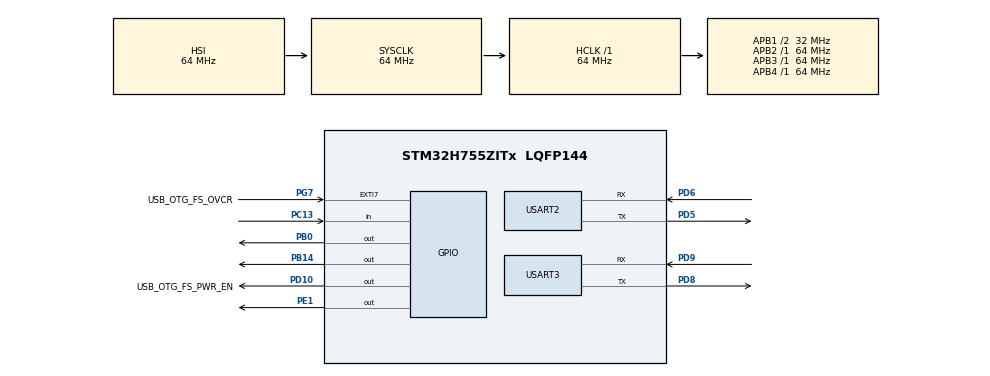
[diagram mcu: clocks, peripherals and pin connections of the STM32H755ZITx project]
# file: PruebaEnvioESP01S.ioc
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CortexM4.IPs=FATFS_M4\:I,FREERTOS_M4\:I,IWDG2\:I,RCC,WWDG2\:I,DMA,BDMA,MDMA,NVIC2\:I,ETH,USART3,DEBUG,PDM2PCM_M4\:I,PWR,RESMGR_UTILITY,SYS_M4\:I,USB_DEVICE_M4\:I,USB_HOST_M4\:I,CORTEX_M4\:I,GPIO,OPENAMP_M4\:I,VREFBUF,NUCLEO-H755ZI-Q
CortexM7.IPs=FATFS_M7\:I,FREERTOS_M7\:I,IWDG1\:I,RCC\:I,WWDG1\:I,DMA\:I,BDMA\:I,MDMA\:I,NVIC1\:I,ETH\:I,USART3\:I,USB_OTG_FS\:I,SYS\:I,CORTEX_M7\:I,DEBUG\:I,PDM2PCM_M7\:I,PWR\:I,RESMGR_UTILITY\:I,USB_DEVICE_M7\:I,USB_HOST_M7\:I,GPIO\:I,OPENAMP_M7\:I,VREFBUF\:I,NUCLEO-H755ZI-Q\:I,MEMORYMAP\:I,USART2\:I
Mcu.Family=STM32H7
Mcu.Name=STM32H755ZITx
Mcu.Package=LQFP144
NVIC1.PriorityGroup=NVIC_PRIORITYGROUP_4
NVIC2.PriorityGroup=NVIC_PRIORITYGROUP_4
PA1.PinAttribute=CortexM7
PA1.Signal=ETH_REF_CLK
PA11.PinAttribute=CortexM7
PA11.Signal=USB_OTG_FS_DM
PA12.PinAttribute=CortexM7
PA12.Signal=USB_OTG_FS_DP
PA2.PinAttribute=CortexM7
PA2.Signal=ETH_MDIO
PA7.PinAttribute=CortexM7
PA7.Signal=ETH_CRS_DV
PA8.PinAttribute=CortexM7
PA8.Signal=USB_OTG_FS_SOF
PA9.PinAttribute=CortexM7
PA9.Signal=USB_OTG_FS_VBUS
PB0.PinAttribute=Free
PB0.Signal=GPIO_Output
PB13.PinAttribute=CortexM7
PB13.Signal=ETH_TXD1
PB14.PinAttribute=Free
PB14.Signal=GPIO_Output
PC1.PinAttribute=CortexM7
PC1.Signal=ETH_MDC
PC13.PinAttribute=Free
PC13.Signal=GPIO_Input
PC14-OSC32_IN\ (OSC32_IN).PinAttribute=Free
PC14-OSC32_IN\ (OSC32_IN).Signal=RCC_OSC32_IN
PC15-OSC32_OUT\ (OSC32_OUT).PinAttribute=Free
PC15-OSC32_OUT\ (OSC32_OUT).Signal=RCC_OSC32_OUT
PC4.PinAttribute=CortexM7
PC4.Signal=ETH_RXD0
PC5.PinAttribute=CortexM7
PC5.Signal=ETH_RXD1
PD10.GPIO_Label=USB_OTG_FS_PWR_EN
PD10.PinAttribute=Free
PD10.Signal=GPIO_Output
PD5.Mode=Asynchronous
PD5.PinAttribute=CortexM7
PD5.Signal=USART2_TX
PD6.Mode=Asynchronous
PD6.PinAttribute=CortexM7
PD6.Signal=USART2_RX
PD8.Mode=Asynchronous
PD8.PinAttribute=CortexM7
PD8.Signal=USART3_TX
PD9.Mode=Asynchronous
PD9.PinAttribute=CortexM7
PD9.Signal=USART3_RX
PE1.PinAttribute=Free
PE1.Signal=GPIO_Output
PG11.PinAttribute=CortexM7
PG11.Signal=ETH_TX_EN
PG13.PinAttribute=CortexM7
PG13.Signal=ETH_TXD0
PG7.GPIO_Label=USB_OTG_FS_OVCR
PG7.PinAttribute=Free
PG7.Signal=GPXTI7
PH0-OSC_IN\ (PH0).PinAttribute=Free
PH0-OSC_IN\ (PH0).Signal=RCC_OSC_IN
PH1-OSC_OUT\ (PH1).PinAttribute=Free
PH1-OSC_OUT\ (PH1).Signal=RCC_OSC_OUT
ProjectManager.HeapSize=M4-0x200,M7-0x200
ProjectManager.StackSize=M4-0x400,M7-0x400
ProjectManager.TargetToolchain=STM32CubeIDE
RCC.ADCFreq_Value=129000000
RCC.APB1Freq_Value=32000000
RCC.APB2Freq_Value=64000000
RCC.APB3Freq_Value=64000000
RCC.APB4Freq_Value=64000000
RCC.CortexFreq_Value=64000000
RCC.D2PPRE1=RCC_APB1_DIV2
RCC.DIVM1=5
RCC.DIVN1=48
RCC.DIVQ1=5
RCC.HCLKFreq_Value=64000000
RCC.PLL2FRACN=0
RCC.PLL3FRACN=0
RCC.PLLFRACN=0
RCC.SYSCLKFreq_VALUE=64000000
RCC.SupplySource=PWR_DIRECT_SMPS_SUPPLY
RCC.USBFreq_Value=122880000
USART2.VirtualMode-Asynchronous=VM_ASYNC
USART3.VirtualMode-Asynchronous=VM_ASYNC
VP_MEMORYMAP_VS_MEMORYMAP.Mode=CurAppReg
VP_SYS_M4_VS_Systick.Mode=SysTick
board=NUCLEO-H755ZI-Q

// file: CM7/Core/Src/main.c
/* USER CODE BEGIN Header */
/**
  ******************************************************************************
  * @file           : main.c
  * @brief          : Main program body
  ******************************************************************************
  * @attention
  *
  * Copyright (c) 2025 STMicroelectronics.
  * All rights reserved.
  *
  * This software is licensed under terms that can be found in the LICENSE file
  * in the root directory of this software component.
  * If no LICENSE file comes with this software, it is provided AS-IS.
  *
  ******************************************************************************
  */
/* USER CODE END Header */
#include "main.h"

/* USER CODE BEGIN Includes */
#include "main.h"
#include <stdio.h>
#include <string.h>
/* USER CODE END Includes */

/* USER CODE BEGIN PTD */
#define TX_BUFFER_SIZE 350
char tx_buffer[TX_BUFFER_SIZE];
/* USER CODE END PTD */

/* USER CODE BEGIN PD */

/* DUAL_CORE_BOOT_SYNC_SEQUENCE: Define for dual core boot synchronization    */
/*                             demonstration code based on hardware semaphore */
/* This define is present in both CM7/CM4 projects                            */
/* To comment when developping/debugging on a single core                     */
//#define DUAL_CORE_BOOT_SYNC_SEQUENCE

#if defined(DUAL_CORE_BOOT_SYNC_SEQUENCE)
#ifndef HSEM_ID_0
#define HSEM_ID_0 (0U) /* HW semaphore 0*/
#endif
#endif /* DUAL_CORE_BOOT_SYNC_SEQUENCE */

/* USER CODE END PD */

UART_HandleTypeDef huart2;
UART_HandleTypeDef huart3;

/* USER CODE BEGIN PV */
int contador_envio = 0;
float sim_temp = 24.0;
float sim_hum = 55.0;
float sim_ax = 0.0;

/* USER CODE END PV */

void SystemClock_Config(void);
static void MX_GPIO_Init(void);
static void MX_USART2_UART_Init(void);
static void MX_USART3_UART_Init(void);
/* USER CODE BEGIN PFP */
void generar_datos_json_combinado(void);
void loop_nucleo_transmisor(void);
/* USER CODE END PFP */

int main(void)
{

  /* USER CODE BEGIN 1 */
//	int index = 0;
  /* USER CODE END 1 */
/* USER CODE BEGIN Boot_Mode_Sequence_0 */
#if defined(DUAL_CORE_BOOT_SYNC_SEQUENCE)
  int32_t timeout;
#endif /* DUAL_CORE_BOOT_SYNC_SEQUENCE */
/* USER CODE END Boot_Mode_Sequence_0 */

/* USER CODE BEGIN Boot_Mode_Sequence_1 */
#if defined(DUAL_CORE_BOOT_SYNC_SEQUENCE)
  /* Wait until CPU2 boots and enters in stop mode or timeout*/
  timeout = 0xFFFF;
  while((__HAL_RCC_GET_FLAG(RCC_FLAG_D2CKRDY) != RESET) && (timeout-- > 0));
  if ( timeout < 0 )
  {
  Error_Handler();
  }
#endif /* DUAL_CORE_BOOT_SYNC_SEQUENCE */
/* USER CODE END Boot_Mode_Sequence_1 */
  /* MCU Configuration--------------------------------------------------------*/

  /* Reset of all peripherals, Initializes the Flash interface and the Systick. */
  HAL_Init();

  /* Configure the system clock */
  SystemClock_Config();
/* USER CODE BEGIN Boot_Mode_Sequence_2 */
#if defined(DUAL_CORE_BOOT_SYNC_SEQUENCE)
/* When system initialization is finished, Cortex-M7 will release Cortex-M4 by means of
HSEM notification */
/*HW semaphore Clock enable*/
__HAL_RCC_HSEM_CLK_ENABLE();
/*Take HSEM */
HAL_HSEM_FastTake(HSEM_ID_0);
/*Release HSEM in order to notify the CPU2(CM4)*/
HAL_HSEM_Release(HSEM_ID_0,0);
/* wait until CPU2 wakes up from stop mode */
timeout = 0xFFFF;
while((__HAL_RCC_GET_FLAG(RCC_FLAG_D2CKRDY) == RESET) && (timeout-- > 0));
if ( timeout < 0 )
{
Error_Handler();
}
#endif /* DUAL_CORE_BOOT_SYNC_SEQUENCE */
/* USER CODE END Boot_Mode_Sequence_2 */

  /* Initialize all configured peripherals */
  MX_GPIO_Init();
  MX_USART2_UART_Init();
  MX_USART3_UART_Init();

  /* Infinite loop */
  /* USER CODE BEGIN WHILE */
  while (1)
  {
	  loop_nucleo_transmisor();
    /* USER CODE END WHILE */

  }
}

void SystemClock_Config(void)
{
  RCC_OscInitTypeDef RCC_OscInitStruct = {0};
  RCC_ClkInitTypeDef RCC_ClkInitStruct = {0};

  /** Supply configuration update enable
  */
  HAL_PWREx_ConfigSupply(PWR_DIRECT_SMPS_SUPPLY);

  /** Configure the main internal regulator output voltage
  */
  __HAL_PWR_VOLTAGESCALING_CONFIG(PWR_REGULATOR_VOLTAGE_SCALE3);

  while(!__HAL_PWR_GET_FLAG(PWR_FLAG_VOSRDY)) {}

  /** Initializes the RCC Oscillators according to the specified parameters
  * in the RCC_OscInitTypeDef structure.
  */
  RCC_OscInitStruct.OscillatorType = RCC_OSCILLATORTYPE_HSI;
  RCC_OscInitStruct.HSIState = RCC_HSI_DIV1;
  RCC_OscInitStruct.HSICalibrationValue = RCC_HSICALIBRATION_DEFAULT;
  RCC_OscInitStruct.PLL.PLLState = RCC_PLL_NONE;
  if (HAL_RCC_OscConfig(&RCC_OscInitStruct) != HAL_OK)
  {
    Error_Handler();
  }

  /** Initializes the CPU, AHB and APB buses clocks
  */
  RCC_ClkInitStruct.ClockType = RCC_CLOCKTYPE_HCLK|RCC_CLOCKTYPE_SYSCLK
                              |RCC_CLOCKTYPE_PCLK1|RCC_CLOCKTYPE_PCLK2
                              |RCC_CLOCKTYPE_D3PCLK1|RCC_CLOCKTYPE_D1PCLK1;
  RCC_ClkInitStruct.SYSCLKSource = RCC_SYSCLKSOURCE_HSI;
  RCC_ClkInitStruct.SYSCLKDivider = RCC_SYSCLK_DIV1;
  RCC_ClkInitStruct.AHBCLKDivider = RCC_HCLK_DIV1;
  RCC_ClkInitStruct.APB3CLKDivider = RCC_APB3_DIV1;
  RCC_ClkInitStruct.APB1CLKDivider = RCC_APB1_DIV2;
  RCC_ClkInitStruct.APB2CLKDivider = RCC_APB2_DIV1;
  RCC_ClkInitStruct.APB4CLKDivider = RCC_APB4_DIV1;

  if (HAL_RCC_ClockConfig(&RCC_ClkInitStruct, FLASH_LATENCY_1) != HAL_OK)
  {
    Error_Handler();
  }
}

static void MX_USART2_UART_Init(void)
{

  huart2.Instance = USART2;
  huart2.Init.BaudRate = 115200;
  huart2.Init.WordLength = UART_WORDLENGTH_8B;
  huart2.Init.StopBits = UART_STOPBITS_1;
  huart2.Init.Parity = UART_PARITY_NONE;
  huart2.Init.Mode = UART_MODE_TX_RX;
  huart2.Init.HwFlowCtl = UART_HWCONTROL_NONE;
  huart2.Init.OverSampling = UART_OVERSAMPLING_16;
  huart2.Init.OneBitSampling = UART_ONE_BIT_SAMPLE_DISABLE;
  huart2.Init.ClockPrescaler = UART_PRESCALER_DIV1;
  huart2.AdvancedInit.AdvFeatureInit = UART_ADVFEATURE_NO_INIT;
  if (HAL_UART_Init(&huart2) != HAL_OK)
  {
    Error_Handler();
  }
  if (HAL_UARTEx_SetTxFifoThreshold(&huart2, UART_TXFIFO_THRESHOLD_1_8) != HAL_OK)
  {
    Error_Handler();
  }
  if (HAL_UARTEx_SetRxFifoThreshold(&huart2, UART_RXFIFO_THRESHOLD_1_8) != HAL_OK)
  {
    Error_Handler();
  }
  if (HAL_UARTEx_DisableFifoMode(&huart2) != HAL_OK)
  {
    Error_Handler();
  }

}

static void MX_USART3_UART_Init(void)
{

  huart3.Instance = USART3;
  huart3.Init.BaudRate = 115200;
  huart3.Init.WordLength = UART_WORDLENGTH_8B;
  huart3.Init.StopBits = UART_STOPBITS_1;
  huart3.Init.Parity = UART_PARITY_NONE;
  huart3.Init.Mode = UART_MODE_TX_RX;
  huart3.Init.HwFlowCtl = UART_HWCONTROL_NONE;
  huart3.Init.OverSampling = UART_OVERSAMPLING_16;
  huart3.Init.OneBitSampling = UART_ONE_BIT_SAMPLE_DISABLE;
  huart3.Init.ClockPrescaler = UART_PRESCALER_DIV1;
  huart3.AdvancedInit.AdvFeatureInit = UART_ADVFEATURE_NO_INIT;
  if (HAL_UART_Init(&huart3) != HAL_OK)
  {
    Error_Handler();
  }
  if (HAL_UARTEx_SetTxFifoThreshold(&huart3, UART_TXFIFO_THRESHOLD_1_8) != HAL_OK)
  {
    Error_Handler();
  }
  if (HAL_UARTEx_SetRxFifoThreshold(&huart3, UART_RXFIFO_THRESHOLD_1_8) != HAL_OK)
  {
    Error_Handler();
  }
  if (HAL_UARTEx_DisableFifoMode(&huart3) != HAL_OK)
  {
    Error_Handler();
  }

}

static void MX_GPIO_Init(void)
{
  GPIO_InitTypeDef GPIO_InitStruct = {0};

  /* GPIO Ports Clock Enable */
  __HAL_RCC_GPIOC_CLK_ENABLE();
  __HAL_RCC_GPIOA_CLK_ENABLE();
  __HAL_RCC_GPIOB_CLK_ENABLE();
  __HAL_RCC_GPIOD_CLK_ENABLE();
  __HAL_RCC_GPIOG_CLK_ENABLE();

  /*Configure GPIO pins : PC1 PC4 PC5 */
  GPIO_InitStruct.Pin = GPIO_PIN_1|GPIO_PIN_4|GPIO_PIN_5;
  GPIO_InitStruct.Mode = GPIO_MODE_AF_PP;
  GPIO_InitStruct.Pull = GPIO_NOPULL;
  GPIO_InitStruct.Speed = GPIO_SPEED_FREQ_LOW;
  GPIO_InitStruct.Alternate = GPIO_AF11_ETH;
  HAL_GPIO_Init(GPIOC, &GPIO_InitStruct);

  /*Configure GPIO pins : PA1 PA2 PA7 */
  GPIO_InitStruct.Pin = GPIO_PIN_1|GPIO_PIN_2|GPIO_PIN_7;
  GPIO_InitStruct.Mode = GPIO_MODE_AF_PP;
  GPIO_InitStruct.Pull = GPIO_NOPULL;
  GPIO_InitStruct.Speed = GPIO_SPEED_FREQ_LOW;
  GPIO_InitStruct.Alternate = GPIO_AF11_ETH;
  HAL_GPIO_Init(GPIOA, &GPIO_InitStruct);

  /*Configure GPIO pin : PB13 */
  GPIO_InitStruct.Pin = GPIO_PIN_13;
  GPIO_InitStruct.Mode = GPIO_MODE_AF_PP;
  GPIO_InitStruct.Pull = GPIO_NOPULL;
  GPIO_InitStruct.Speed = GPIO_SPEED_FREQ_LOW;
  GPIO_InitStruct.Alternate = GPIO_AF11_ETH;
  HAL_GPIO_Init(GPIOB, &GPIO_InitStruct);

  /*Configure GPIO pins : PA8 PA11 PA12 */
  GPIO_InitStruct.Pin = GPIO_PIN_8|GPIO_PIN_11|GPIO_PIN_12;
  GPIO_InitStruct.Mode = GPIO_MODE_AF_PP;
  GPIO_InitStruct.Pull = GPIO_NOPULL;
  GPIO_InitStruct.Speed = GPIO_SPEED_FREQ_LOW;
  GPIO_InitStruct.Alternate = GPIO_AF10_OTG1_FS;
  HAL_GPIO_Init(GPIOA, &GPIO_InitStruct);

  /*Configure GPIO pins : PG11 PG13 */
  GPIO_InitStruct.Pin = GPIO_PIN_11|GPIO_PIN_13;
  GPIO_InitStruct.Mode = GPIO_MODE_AF_PP;
  GPIO_InitStruct.Pull = GPIO_NOPULL;
  GPIO_InitStruct.Speed = GPIO_SPEED_FREQ_LOW;
  GPIO_InitStruct.Alternate = GPIO_AF11_ETH;
  HAL_GPIO_Init(GPIOG, &GPIO_InitStruct);

}

/* USER CODE BEGIN 4 */
void generar_datos_json_combinado() {
    // Simulación de variación de datos
    sim_temp += 0.1; if (sim_temp > 25.0) sim_temp = 24.0;
    sim_hum += 0.15; if (sim_hum > 56.0) sim_hum = 55.0;
    sim_ax = 0.01 * (contador_envio % 10);

    // Generar la cadena JSON combinada
    // Se utiliza %.1f para floats y se incluye la fecha/hora simulada
    int len = snprintf(tx_buffer, TX_BUFFER_SIZE,
        "{\"persona_id\":12,\"nombre\":\"UsuarioDemo\","
        "\"huella_tipo_evento\":\"entrada\",\"nodo_id\":1,"
        "\"aire_temperatura\":%.1f,\"aire_humedad\":%.1f,\"aire_aqi\":45,"
        "\"aire_tvoc\":320,\"aire_eco2\":650,"
        "\"acel_x\":%.2f,\"acel_y\":-0.01,\"acel_z\":0.98,"
        "\"fecha\":\"2025-11-25 10:00:%02d\"}\r\n", // %02d para segundos con dos dígitos
        sim_temp, sim_hum, sim_ax, (contador_envio % 60));

    contador_envio++;

    // Enviar el buffer a través de UART (bloqueante)
    if (len > 0 && len < TX_BUFFER_SIZE) {
        HAL_UART_Transmit(&huart2, (uint8_t*)tx_buffer, len, 100);
        HAL_UART_Transmit(&huart3, (uint8_t*)tx_buffer, len, 100);
    }
}

void loop_nucleo_transmisor() {
    static uint32_t last_send_time = 0;
    uint32_t current_time = HAL_GetTick();

    // Enviar el JSON combinado cada 4 segundos
    if (current_time - last_send_time >= 4000) {
        generar_datos_json_combinado();
        last_send_time = current_time;
    }
}
/* USER CODE END 4 */

void Error_Handler(void)
{
  __disable_irq();
  while (1)
  {
  }
}
